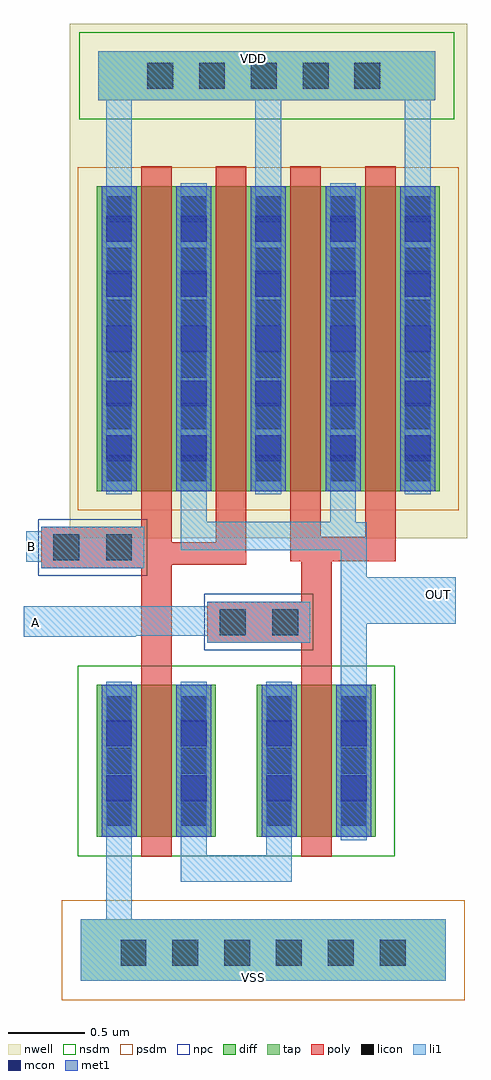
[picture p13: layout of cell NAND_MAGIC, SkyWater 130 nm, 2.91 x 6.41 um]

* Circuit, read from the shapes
.subckt NAND_MAGIC A B OUT VDD VSS
XM1 n1 B VSS VSS sky130_fd_pr__nfet_01v8 w=1 l=0.2
XM2 OUT A n1 VSS sky130_fd_pr__nfet_01v8 w=1 l=0.2
XM3 OUT B VDD VDD sky130_fd_pr__pfet_01v8 w=2 l=0.2 m=2
XM4 OUT A VDD VDD sky130_fd_pr__pfet_01v8 w=2 l=0.2 m=2
.ends

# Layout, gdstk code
import gdstk
lib = gdstk.Library(unit=1e-6, precision=1e-09)
def R(c, l, rs):  # rectangles x0, y0, x1, y1
    for r in rs: c.add(gdstk.rectangle(r[:2], r[2:], *l))
def A(c, l, x, y, w, h, nx, ny, dx, dy):  # array of equal rectangles
    R(c, l, [(x+i*dx, y+j*dy, x+i*dx+w, y+j*dy+h) for i in range(nx) for j in range(ny)])
nwell = (64, 20)
diff = (65, 20)
tap = (65, 44)
poly = (66, 20)
licon = (66, 44)
li1 = (67, 20)
mcon = (67, 44)
met1 = (68, 20)
nsdm = (93, 44)
psdm = (94, 20)
npc = (95, 20)

sky130_fd_pr__pfet_01v8_ = lib.new_cell('sky130_fd_pr__pfet_01v8_2PVZQB')
R(sky130_fd_pr__pfet_01v8_, nwell, [(-0.57,-1.31,0.57,1.31)])
R(sky130_fd_pr__pfet_01v8_, diff, [(-0.39,-1,0.39,1)])
R(sky130_fd_pr__pfet_01v8_, poly, [(-0.1,-1.13,0.1,1.13)])
A(sky130_fd_pr__pfet_01v8_, licon, -0.33, -0.935, 0.17, 0.17, 1, 6, 0, 0.34)
A(sky130_fd_pr__pfet_01v8_, licon, 0.16, -0.935, 0.17, 0.17, 1, 6, 0, 0.34)
R(sky130_fd_pr__pfet_01v8_, li1, [(-0.33,-1.02,-0.16,1.02), (0.16,-1.02,0.33,1.02)])
A(sky130_fd_pr__pfet_01v8_, mcon, -0.33, -0.805, 0.17, 0.17, 1, 5, 0, 0.36)
A(sky130_fd_pr__pfet_01v8_, mcon, 0.16, -0.805, 0.17, 0.17, 1, 5, 0, 0.36)
R(sky130_fd_pr__pfet_01v8_, met1, [(-0.36,-1,-0.13,1), (0.13,-1,0.36,1)])
R(sky130_fd_pr__pfet_01v8_, psdm, [(-0.515,-1.125,0.515,1.125)])

sky130_fd_pr__nfet_01v8_ = lib.new_cell('sky130_fd_pr__nfet_01v8_NUEGCF')
R(sky130_fd_pr__nfet_01v8_, diff, [(-0.39,-0.5,0.39,0.5)])
R(sky130_fd_pr__nfet_01v8_, poly, [(-0.1,-0.63,0.1,0.63)])
A(sky130_fd_pr__nfet_01v8_, licon, -0.33, -0.425, 0.17, 0.17, 1, 3, 0, 0.34)
A(sky130_fd_pr__nfet_01v8_, licon, 0.16, -0.425, 0.17, 0.17, 1, 3, 0, 0.34)
R(sky130_fd_pr__nfet_01v8_, li1, [(-0.33,-0.52,-0.16,0.52), (0.16,-0.52,0.33,0.52)])
R(sky130_fd_pr__nfet_01v8_, mcon, [(-0.33,-0.265,-0.16,-0.095), (0.16,-0.265,0.33,-0.095), (-0.33,0.095,-0.16,0.265), (0.16,0.095,0.33,0.265)])
R(sky130_fd_pr__nfet_01v8_, met1, [(-0.36,-0.5,-0.13,0.5), (0.13,-0.5,0.36,0.5)])
R(sky130_fd_pr__nfet_01v8_, nsdm, [(-0.515,-0.625,0.515,0.625)])

nand_magic = lib.new_cell('NAND_MAGIC')
R(nand_magic, nwell, [(0.06,2.575,1.69,2.58), (0.06,2.58,2.67,3.335)])
R(nand_magic, tap, [(0.135,-2.945,2.53,-2.54), (0.25,2.835,2.46,3.155)])
R(nand_magic, poly, [(0.53,-0.87,0.73,-0.235), (1.58,-0.87,1.78,-0.725), (0.965,-0.725,1.78,-0.455), (1.58,-0.455,1.78,-0.19), (-0.125,-0.235,0.73,-0.215), (-0.125,-0.215,1.22,-0.065), (1.51,-0.19,2.2,-0.03), (-0.125,-0.065,0.73,0.035), (1.02,-0.065,1.22,0.14), (1.51,-0.03,1.71,0.14), (2,-0.03,2.2,0.14), (0.53,0.035,0.73,0.14)])
A(nand_magic, licon, 0.395, -2.845, 0.17, 0.17, 6, 1, 0.34, 0)
A(nand_magic, licon, 0.57, 2.91, 0.17, 0.17, 5, 1, 0.34, 0)
R(nand_magic, licon, [(1.045,-0.675,1.215,-0.505), (1.39,-0.675,1.56,-0.505), (-0.045,-0.185,0.125,-0.015), (0.3,-0.185,0.47,-0.015)])
A(nand_magic, li1, 0.3, 2.27, 0.17, 0.565, 3, 1, 0.98, 0)
R(nand_magic, li1, [(0.135,-2.945,2.53,-2.54), (0.3,-2.54,0.47,-2), (0.79,-2.295,1.52,-2.12), (0.79,-2.12,0.96,-2), (1.35,-2.12,1.52,-1.915), (1.84,-1.06,2.01,-0.6), (0.965,-0.725,1.64,-0.68), (-0.24,-0.685,0.495,-0.68), (-0.24,-0.68,1.64,-0.485), (1.84,-0.6,2.595,-0.295), (0.965,-0.485,1.64,-0.455), (1.84,-0.295,2.01,-0.12), (-0.125,-0.235,0.55,-0.195), (-0.225,-0.195,0.55,0.005), (0.79,-0.12,2.01,0.065), (-0.125,0.005,0.55,0.035), (0.79,0.065,1.94,0.07), (0.79,0.07,0.96,0.285), (1.77,0.07,1.94,0.275), (0.25,2.835,2.46,3.155)])
R(nand_magic, nsdm, [(1.145,-2.125,1.165,-0.875), (0.125,2.71,2.585,3.28)])
R(nand_magic, psdm, [(0.01,-3.07,2.655,-2.415)])
R(nand_magic, npc, [(0.945,-0.775,1.66,-0.405), (-0.145,-0.285,0.57,0.085)])
nand_magic.add(gdstk.Reference(sky130_fd_pr__pfet_01v8_, (1.61,1.27)))
nand_magic.add(gdstk.Reference(sky130_fd_pr__pfet_01v8_, (1.12,1.27)))
nand_magic.add(gdstk.Reference(sky130_fd_pr__pfet_01v8_, (0.63,1.27)))
nand_magic.add(gdstk.Reference(sky130_fd_pr__pfet_01v8_, (2.1,1.27)))
nand_magic.add(gdstk.Reference(sky130_fd_pr__nfet_01v8_, (0.63,-1.5)))
nand_magic.add(gdstk.Reference(sky130_fd_pr__nfet_01v8_, (1.68,-1.5)))
nand_magic.add(gdstk.Label('VDD', (1.265,3.11), layer=67, texttype=5))
nand_magic.add(gdstk.Label('VSS', (1.265,-2.92), layer=67, texttype=5))
nand_magic.add(gdstk.Label('OUT', (2.48,-0.41), layer=67, texttype=5))
nand_magic.add(gdstk.Label('A', (-0.16,-0.59), layer=67, texttype=5))
nand_magic.add(gdstk.Label('B', (-0.19,-0.095), layer=67, texttype=5))

lib.write_gds('NAND_MAGIC.gds')
